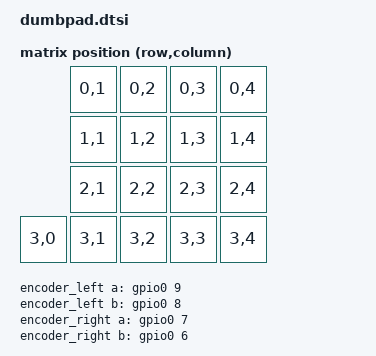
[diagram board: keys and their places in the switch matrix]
#include <dt-bindings/zmk/matrix_transform.h>
#include <dt-bindings/zmk/bt.h>

/ {
    chosen {
        zmk,kscan = &kscan0;
        zmk,matrix_transform = &default_transform;
    };

    default_transform: keymap_transform_0 {
        compatible = "zmk,matrix-transform";
        columns = <5>;
        rows = <4>;
        
        // ---------------------------------------
        //          | 7     |  8   |  9  |  bscp |
        //          | 4     |  5   |  6  |  EQUAL|
        //          | 1     |  2   |  3  |  MINUs|       
        // | TO(1)  | ESC   |  0   |  .  |  ENT  |
        // ---------------------------------------

        map = < 
                    RC(0,1) RC(0,2) RC(0,3) RC(0,4)
                    RC(1,1) RC(1,2) RC(1,3) RC(1,4)
                    RC(2,1) RC(2,2) RC(2,3) RC(2,4)
            RC(3,0) RC(3,1) RC(3,2) RC(3,3) RC(3,4)  
        >;
    };
    sensors {
        compatible = "zmk,keymap-sensors";
        
        encoder_left: encoder_left {
            compatible = "alps,ec11";
            label = "LEFT_ENCODER";
            a-gpios = <&gpio0 9 (GPIO_ACTIVE_HIGH | GPIO_PULL_UP)>;
            b-gpios = <&gpio0 8 (GPIO_ACTIVE_HIGH | GPIO_PULL_UP)>;
            steps = <24>;
        };

        encoder_right: encoder_right {
            compatible = "alps,ec11";
            label = "RIGHT_ENCODER";
            a-gpios = <&gpio0 7 (GPIO_ACTIVE_HIGH | GPIO_PULL_UP)>;
            b-gpios = <&gpio0 6 (GPIO_ACTIVE_HIGH | GPIO_PULL_UP)>;
            steps = <24>;
        };
    };
};
